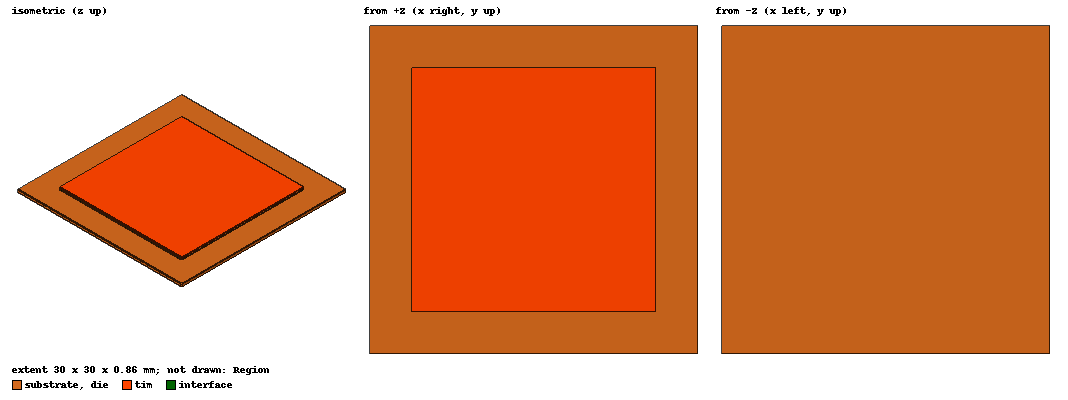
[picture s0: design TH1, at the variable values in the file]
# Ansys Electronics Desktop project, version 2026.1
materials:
  air: permittivity=1.0006 permeability=1.0000004 thermal_conductivity=0.0261 mass_density=1.1614 specific_heat=1005 thermal_expansion_coefficient=0.00333 thermal_material_type=Fluid diffusivity=2.88e-05 molecular_mass=0.028966 viscosity=1.84e-05 material_refractive_index=1.000293
  si_p0e: permittivity=1 permeability=1 thermal_conductivity=130 mass_density=2330 specific_heat=700 diffusivity=0.8
  uf_p0e: permittivity=1 permeability=1 thermal_conductivity=0.7 mass_density=2330 specific_heat=700 diffusivity=0.8
  tim_p0e: permittivity=1 permeability=1 thermal_conductivity=3 mass_density=2330 specific_heat=700 diffusivity=0.8
  hvr_p0e: permittivity=1 permeability=1 thermal_conductivity=60 mass_density=2330 specific_heat=700 diffusivity=0.8
  Al-Extruded: thermal_conductivity=205 mass_density=2800 specific_heat=900 youngs_modulus=69000000000 poissons_ratio=0.33 thermal_expansion_coefficient=2.277e-06 thermal_material_type=Solid
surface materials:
  Steel-oxidised-surface: surface_emissivity=0.8

design TH1 (Icepak, SteadyState TemperatureOnly, model units mm)
options: Default_Fluid_Material=air Default_Solid_Material=Al-Extruded Default_Surface_Material=Steel-oxidised-surface AmbientTemperature=20cel AmbientPressure=0n_per_meter_sq AmbientRadiationTemperature=20cel Gravity_Vector_CS_ID=Global Gravity_Vector_Axis=Z Positive=false Altitude=0meter OperatingPressure=101325n_per_meter_sq OperatingDensity=1.225kg_per_m3 JouleHeatingType=0 DisableShellConductionForJouleHeating
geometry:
  Region [air] = region(percentage_offset=50 on all sides)
  substrate [si_p0e] = box(corner=(-15mm, -15mm, 0mm), size=(30mm, 30mm, 0.5mm))
  hvr0 [hvr_p0e] = box(corner=(-8.12675mm, -8.12675mm, 0.35mm), size=(5.0735mm, 5.0735mm, 0.15mm))
  hvr1 [hvr_p0e] = box(corner=(-8.12675mm, 3.05325mm, 0.35mm), size=(5.0735mm, 5.0735mm, 0.15mm))
  hvr2 [hvr_p0e] = box(corner=(3.05325mm, -8.12675mm, 0.35mm), size=(5.0735mm, 5.0735mm, 0.15mm))
  hvr3 [hvr_p0e] = box(corner=(3.05325mm, 3.05325mm, 0.35mm), size=(5.0735mm, 5.0735mm, 0.15mm))
  hvr0_1 = hvr0.copy()
  hvr1_1 = hvr1.copy()
  hvr2_1 = hvr2.copy()
  hvr3_1 = hvr3.copy()
  substrate.subtract(hvr0_1, hvr1_1, hvr2_1, hvr3_1)
  interface [uf_p0e] = box(corner=(-11.18mm, -11.18mm, 0.5mm), size=(22.36mm, 22.36mm, 0.01mm))
  die [si_p0e] = box(corner=(-11.18mm, -11.18mm, 0.51mm), size=(22.36mm, 22.36mm, 0.3mm))
  tim [tim_p0e] = box(corner=(-11.18mm, -11.18mm, 0.81mm), size=(22.36mm, 22.36mm, 0.05mm))
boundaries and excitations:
  src_die: Block Objects=die Block_Type=Solid Use_Total_Power Total_Power=240W
  src_hvr0: Block Objects=hvr0 Block_Type=Solid Use_Total_Power Total_Power=5.15W
  src_hvr1: Block Objects=hvr1 Block_Type=Solid Use_Total_Power Total_Power=5.15W
  src_hvr2: Block Objects=hvr2 Block_Type=Solid Use_Total_Power Total_Power=5.15W
  src_hvr3: Block Objects=hvr3 Block_Type=Solid Use_Total_Power Total_Power=5.15W
  cool_top: Stationary Wall Faces=tim.face(+z) Thickness=0mm Solid_Material=Al-Extruded External_Condition="Heat Transfer Coefficient" Heat_Flux=0irrad_W_per_m2 Temperature=0cel Heat_Transfer_Coefficient=17521.6354173882w_per_m2kel Reference_Temperature=25cel Heat_Transfer_Data{Heat_Transfer_Convection_Type="Forced Convection"} External_Material=Stainless-steel-cleaned External_Radiation_Reference_Temperature=AmbientTemp External_Radiation_View_Factor=1
  cool_bot: Stationary Wall Faces=substrate.face(-z) Thickness=0mm Solid_Material=Al-Extruded External_Condition="Heat Transfer Coefficient" Heat_Flux=0irrad_W_per_m2 Temperature=0cel Heat_Transfer_Coefficient=10w_per_m2kel Reference_Temperature=25cel Heat_Transfer_Data{Heat_Transfer_Convection_Type="Forced Convection"} External_Material=Stainless-steel-cleaned External_Radiation_Reference_Temperature=AmbientTemp External_Radiation_View_Factor=1
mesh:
  Global:  MeshMethod=MesherHD ComputeGap MeshRegionResolution=3 GeometryBasedMeshing MinGapX=1mm MinGapY=1mm MinGapZ=1mm Objects=Region FacetLevel=3 ProximitySizeFunction CurvatureSizeFunction OptimizePCBMesh
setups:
  s1: IcepakSteadyState Flow_Regime=Laminar Include_Temperature=true Convergence_Criteria_-_Flow=0.001 Convergence_Criteria_-_Energy=1e-07 GPU_Convergence_Criteria_-_Flow=0.001 GPU_Convergence_Criteria_-_Energy=1e-05 disabled Radiation_Model=Off Under-relaxation_-_Pressure=0.7 Under-relaxation_-_Momentum=0.3 Under-relaxation_-_Temperature=1 Under-relaxation_-_Body_Force=1 Discretization_Scheme_-_Pressure=Standard Discretization_Scheme_-_Momentum=First Discretization_Scheme_-_Temperature=Second Enable_Hybrid_precision_for_GPU Partition_method=Metis Convergence_Criteria_-_Max_Iterations=200
